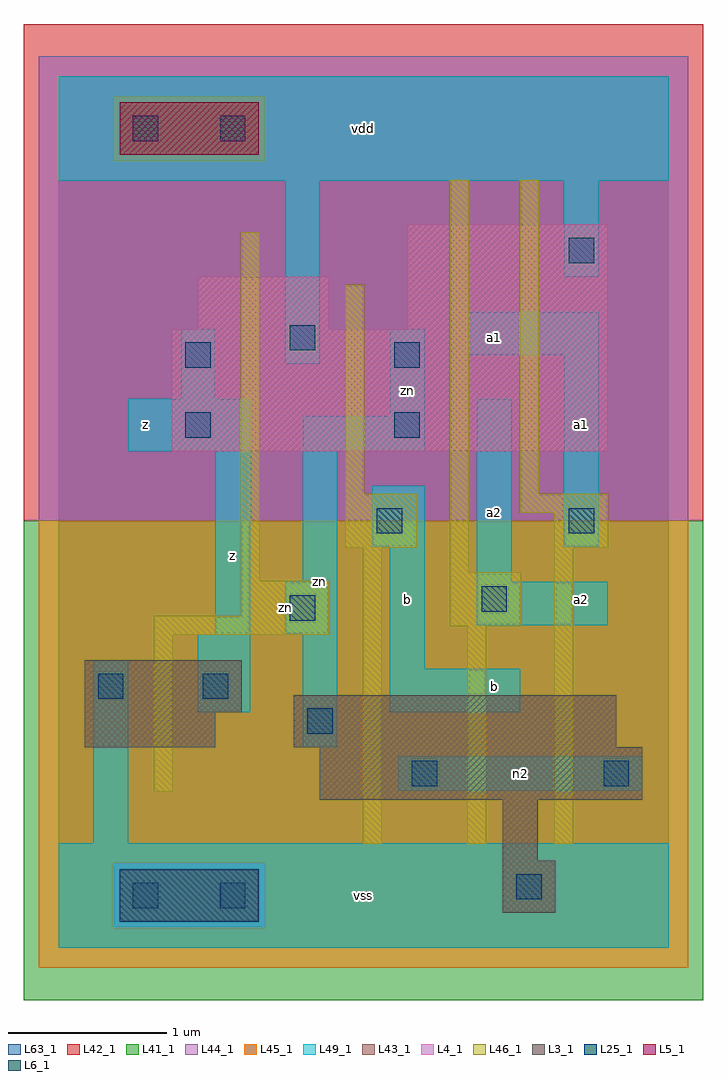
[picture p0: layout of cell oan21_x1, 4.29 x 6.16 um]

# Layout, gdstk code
import gdstk
lib = gdstk.Library(unit=1e-6, precision=1e-09)
def R(c, l, rs):  # rectangles x0, y0, x1, y1
    for r in rs: c.add(gdstk.rectangle(r[:2], r[2:], *l))
L3_1 = (3, 1)
L4_1 = (4, 1)
L5_1 = (5, 1)
L6_1 = (6, 1)
L25_1 = (25, 1)
L41_1 = (41, 1)
L42_1 = (42, 1)
L43_1 = (43, 1)
L44_1 = (44, 1)
L45_1 = (45, 1)
L46_1 = (46, 1)
L49_1 = (49, 1)
L63_1 = (63, 1)

oan21_x1 = lib.new_cell('oan21_x1')
R(oan21_x1, L3_1, [(2.805,0.22,3.135,0.55), (2.805,0.55,3.025,0.935), (1.65,0.935,3.685,1.265), (0.165,1.265,0.99,1.485), (1.485,1.265,3.52,1.595), (0.165,1.485,1.155,1.815)])
R(oan21_x1, L4_1, [(0.715,3.135,3.465,3.905), (0.88,3.905,1.705,4.235), (2.2,3.905,3.465,4.565)])
R(oan21_x1, L5_1, [(0.385,5.005,1.265,5.335)])
R(oan21_x1, L6_1, [(0.385,0.165,1.265,0.495)])
R(oan21_x1, L25_1, [(0.47,0.25,0.63,0.41), (1.02,0.25,1.18,0.41), (2.89,0.305,3.05,0.465), (2.23,1.02,2.39,1.18), (3.44,1.02,3.6,1.18), (1.57,1.35,1.73,1.51), (0.25,1.57,0.41,1.73), (0.91,1.57,1.07,1.73), (1.46,2.065,1.62,2.225), (2.67,2.12,2.83,2.28), (2.01,2.615,2.17,2.775), (3.22,2.615,3.38,2.775), (0.8,3.22,0.96,3.38), (2.12,3.22,2.28,3.38), (0.8,3.66,0.96,3.82), (2.12,3.66,2.28,3.82), (1.46,3.77,1.62,3.93), (3.22,4.32,3.38,4.48), (0.47,5.09,0.63,5.25), (1.02,5.09,1.18,5.25)])
R(oan21_x1, L41_1, [(-0.22,-0.33,4.07,2.695)])
R(oan21_x1, L42_1, [(-0.22,2.695,4.07,5.83)])
R(oan21_x1, L43_1, [(0.385,0.165,1.265,0.495), (2.805,0.22,3.135,0.55), (2.805,0.55,3.025,0.935), (1.65,0.935,3.685,1.265), (0.165,1.265,0.99,1.485), (1.485,1.265,3.52,1.595), (0.165,1.485,1.155,1.815), (0.715,3.135,3.465,3.905), (0.88,3.905,1.705,4.235), (2.2,3.905,3.465,4.565), (0.385,5.005,1.265,5.335)])
R(oan21_x1, L44_1, [(0.345,0.125,1.305,0.535), (-0.125,2.695,3.975,4.965), (-0.125,4.965,0.345,5.375), (1.305,4.965,3.975,5.375), (-0.125,5.375,3.975,5.625)])
R(oan21_x1, L45_1, [(-0.125,-0.125,3.975,0.125), (-0.125,0.125,0.345,0.535), (1.305,0.125,3.975,0.535), (-0.125,0.535,3.975,2.695), (0.345,4.965,1.305,5.375)])
R(oan21_x1, L46_1, [(1.92,0.655,2.04,2.525), (2.58,0.655,2.7,2.03), (3.13,0.655,3.25,2.525), (0.6,0.985,0.72,1.975), (0.6,1.975,1.71,2.095), (2.47,2.03,2.92,2.37), (1.15,2.095,1.71,2.315), (1.15,2.315,1.27,4.515), (2.47,2.37,2.59,4.845), (1.81,2.525,2.26,2.865), (3.13,2.525,3.47,2.745), (2.91,2.745,3.47,2.865), (1.81,2.865,1.93,4.185), (2.91,2.865,3.03,4.845)])
R(oan21_x1, L49_1, [(0,0,3.85,0.66), (0.22,0.66,0.44,1.815), (2.145,0.99,3.685,1.21), (1.54,1.265,1.76,1.98), (0.88,1.485,1.21,1.98), (2.09,1.485,2.915,1.76), (2.09,1.76,2.31,2.53), (0.99,1.98,1.21,3.135), (1.43,1.98,1.76,2.31), (2.64,2.035,3.465,2.31), (1.54,2.31,1.76,3.135), (2.64,2.31,2.86,3.465), (1.98,2.53,2.31,2.915), (3.19,2.53,3.41,3.74), (0.44,3.135,1.21,3.465), (1.54,3.135,2.31,3.355), (2.09,3.355,2.31,3.905), (0.77,3.465,0.99,3.905), (1.43,3.685,1.65,4.84), (2.585,3.74,3.41,4.015), (3.19,4.235,3.41,4.84), (0,4.84,3.85,5.5)])
R(oan21_x1, L63_1, [(0,0,3.85,5.5)])
oan21_x1.add(gdstk.Label('zn', (1.43,2.145), layer=46, texttype=1))
oan21_x1.add(gdstk.Label('z', (0.55,3.3), layer=49, texttype=1))
oan21_x1.add(gdstk.Label('z', (0.55,3.3), layer=49, texttype=1))
oan21_x1.add(gdstk.Label('z', (1.1,2.475), layer=49, texttype=1))
oan21_x1.add(gdstk.Label('z', (1.1,2.475), layer=49, texttype=1))
oan21_x1.add(gdstk.Label('zn', (1.65,2.31), layer=49, texttype=1))
oan21_x1.add(gdstk.Label('vss', (1.925,0.33), layer=49, texttype=1))
oan21_x1.add(gdstk.Label('vss', (1.925,0.33), layer=49, texttype=1))
oan21_x1.add(gdstk.Label('b', (2.75,1.65), layer=49, texttype=1))
oan21_x1.add(gdstk.Label('b', (2.2,2.2), layer=49, texttype=1))
oan21_x1.add(gdstk.Label('b', (2.2,2.2), layer=49, texttype=1))
oan21_x1.add(gdstk.Label('b', (2.75,1.65), layer=49, texttype=1))
oan21_x1.add(gdstk.Label('a2', (2.75,2.75), layer=49, texttype=1))
oan21_x1.add(gdstk.Label('a2', (2.75,2.75), layer=49, texttype=1))
oan21_x1.add(gdstk.Label('zn', (2.2,3.52), layer=49, texttype=1))
oan21_x1.add(gdstk.Label('a1', (2.75,3.85), layer=49, texttype=1))
oan21_x1.add(gdstk.Label('a1', (2.75,3.85), layer=49, texttype=1))
oan21_x1.add(gdstk.Label('vdd', (1.925,5.17), layer=49, texttype=1))
oan21_x1.add(gdstk.Label('vdd', (1.925,5.17), layer=49, texttype=1))
oan21_x1.add(gdstk.Label('n2', (2.915,1.1), layer=49, texttype=1))
oan21_x1.add(gdstk.Label('a2', (3.3,2.2), layer=49, texttype=1))
oan21_x1.add(gdstk.Label('a2', (3.3,2.2), layer=49, texttype=1))
oan21_x1.add(gdstk.Label('a1', (3.3,3.3), layer=49, texttype=1))
oan21_x1.add(gdstk.Label('a1', (3.3,3.3), layer=49, texttype=1))

lib.write_gds('oan21_x1.gds')
